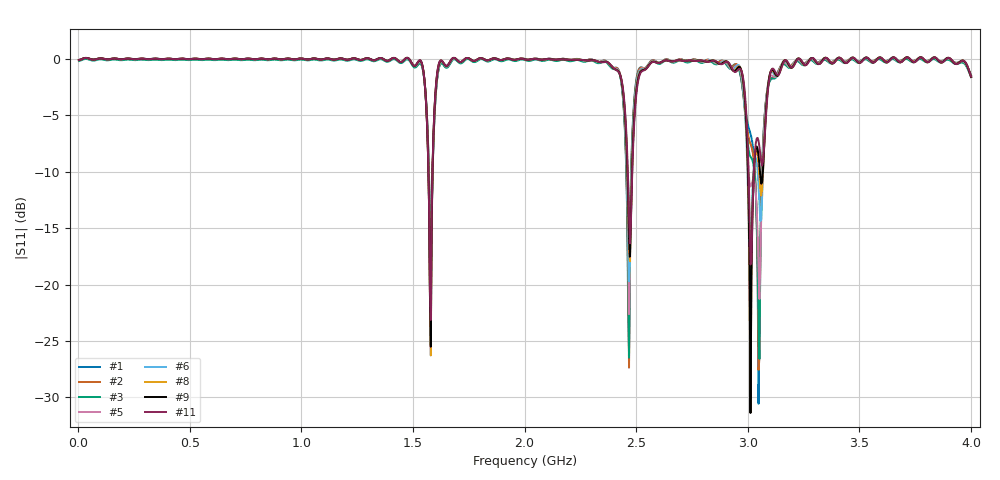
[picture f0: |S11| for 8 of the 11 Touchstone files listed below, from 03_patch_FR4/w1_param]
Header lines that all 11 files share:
! TOUCHSTONE file generated by CST MICROWAVE STUDIO
! Project name: AppElm_antenne_patch_FR4.cst
! Header version: 2018
! Port assignment regex: !\s*Touchstone port\s*([0-9]+)\s*=\s*(CST MWS port|CST DS port)\s*([0-9]+|Zmin|Zmax)\s*\(\"(.*)\"\)(\s*mode\s*([0-9]+))?.*
! Touchstone port assignment:
! Touchstone port 1 = CST MWS port 1 ("")
# GHz S MA R 50
Fixed: L = 45, W = 58.5, e = 0.035, h = 1.6, lambda = 0.190476, ls = 120, w0 = 2.54, ws = 120, y0 = 18, y1 = 23.8
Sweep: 4 MHz to 4 GHz
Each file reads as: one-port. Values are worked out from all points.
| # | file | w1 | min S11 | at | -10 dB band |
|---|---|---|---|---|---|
| 1 | AppElm_antenne_patch_FR4_1.s1p | 0.6352 | -30.6 dB | 3.048 GHz | 31.73 MHz wide |
| 2 | AppElm_antenne_patch_FR4_2.s1p | 0.67755 | -27.6 dB | 3.048 GHz | 33.06 MHz wide |
| 3 | AppElm_antenne_patch_FR4_3.s1p | 0.7199 | -26.6 dB | 3.052 GHz | 35.47 MHz wide |
| 4 | AppElm_antenne_patch_FR4_4.s1p | 0.76225 | -24.6 dB | 2.468 GHz | 39.11 MHz wide |
| 5 | AppElm_antenne_patch_FR4_5.s1p | 0.8046 | -22.6 dB | 2.468 GHz | 61.84 MHz wide |
| 6 | AppElm_antenne_patch_FR4_6.s1p | 0.84695 | -25.4 dB | 1.58 GHz | 26.92 MHz wide |
| 7 | AppElm_antenne_patch_FR4_7.s1p | 0.8893 | -26.0 dB | 1.58 GHz | 27.49 MHz wide |
| 8 | AppElm_antenne_patch_FR4_8.s1p | 0.93165 | -31.2 dB | 3.012 GHz | 27.12 MHz wide |
| 9 | AppElm_antenne_patch_FR4_9.s1p | 0.974 | -31.4 dB | 3.012 GHz | 26.42 MHz wide |
| 10 | AppElm_antenne_patch_FR4_10.s1p | 1.01635 | -24.4 dB | 1.58 GHz | 25.34 MHz wide |
| 11 | AppElm_antenne_patch_FR4_11.s1p | 1.0587 | -23.1 dB | 1.58 GHz | 23.84 MHz wide |
